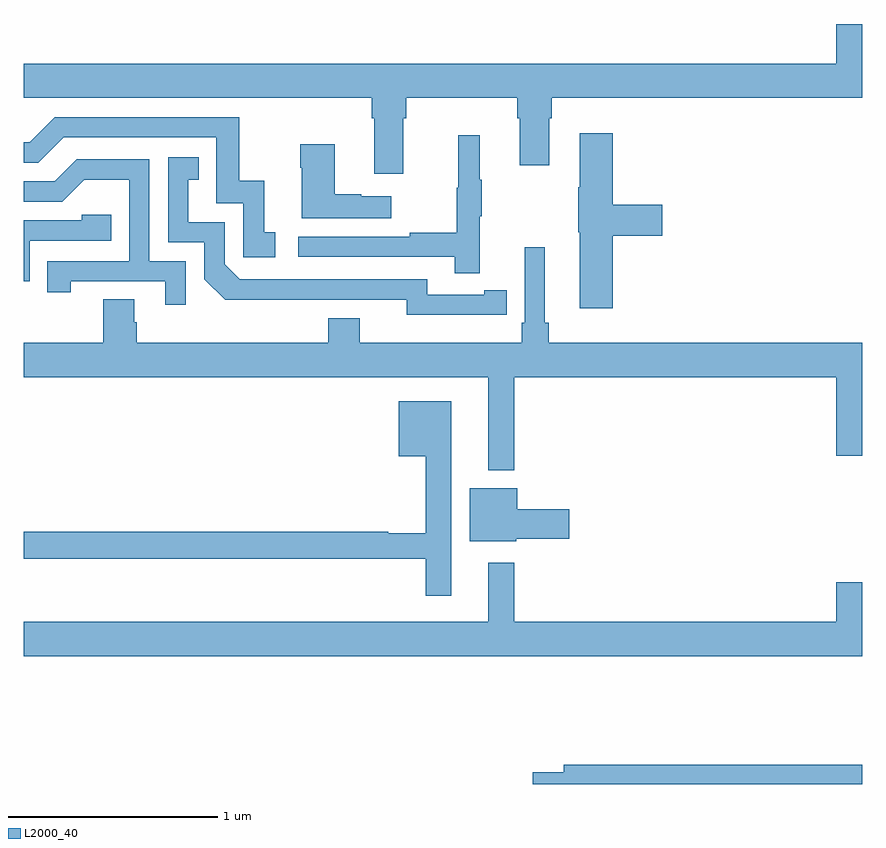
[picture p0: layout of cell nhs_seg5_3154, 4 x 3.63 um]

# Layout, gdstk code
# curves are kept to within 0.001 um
import gdstk
lib = gdstk.Library(unit=1e-6, precision=1e-09)
def P(c, l, *ps):  # polygons
    for p in ps: c.add(gdstk.Polygon(p, *l))
L2000_40 = (2000, 40)

nhs_seg5_3154 = lib.new_cell('nhs_seg5_3154')
P(nhs_seg5_3154, L2000_40, [(294.811,877.976),(294.824,877.976),(294.824,878.072),(295.355,878.072),(295.355,877.976),(295.367,877.976),(295.367,877.752),(295.507,877.752),(295.507,877.976),(295.52,877.976),(295.52,878.072),(297,878.072),(297,878.425),(296.876,878.425),(296.876,878.236),(293,878.236),(293,878.072),(294.659,878.072),(294.659,877.976),(294.671,877.976),(294.671,877.71),(294.811,877.71)],
  [(294.199,877.431),(294.146,877.431),(294.146,877.678),(294.028,877.678),(294.028,877.98),(293.148,877.98),(293.028,877.86),(293,877.86),(293,877.764),(293.07,877.764),(293.19,877.884),(293.919,877.884),(293.919,877.569),(294.048,877.569),(294.048,877.311),(294.199,877.311)],
  [(295.811,877.415),(296.047,877.415),(296.047,877.562),(295.811,877.562),(295.811,877.903),(295.652,877.903),(295.652,877.645),(295.645,877.645),(295.645,877.431),(295.652,877.431),(295.652,877.068),(295.811,877.068)],
  [(295.175,877.507),(295.186,877.507),(295.186,877.681),(295.175,877.681),(295.175,877.894),(295.072,877.894),(295.072,877.644),(295.065,877.644),(295.065,877.43),(294.841,877.43),(294.841,877.41),(294.309,877.41),(294.309,877.314),(295.057,877.314),(295.057,877.236),(295.175,877.236)],
  [(294.754,877.603),(294.611,877.603),(294.611,877.613),(294.484,877.613),(294.484,877.852),(294.319,877.852),(294.319,877.739),(294.326,877.739),(294.326,877.499),(294.754,877.499)],
  [(295.196,877.038),(295.304,877.038),(295.304,877.154),(295.196,877.154),(295.196,877.134),(294.924,877.134),(294.924,877.206),(294.03,877.206),(293.958,877.278),(293.958,877.479),(293.785,877.479),(293.785,877.683),(293.834,877.683),(293.834,877.789),(293.688,877.789),(293.688,877.383),(293.862,877.383),(293.862,877.206),(293.96,877.109),(294.828,877.11),(294.828,877.037)],
  [(293.772,877.293),(293.598,877.293),(293.598,877.779),(293.252,877.779),(293.147,877.674),(293,877.674),(293,877.578),(293.184,877.578),(293.288,877.682),(293.502,877.682),(293.502,877.293),(293.113,877.293),(293.113,877.146),(293.224,877.146),(293.224,877.197),(293.675,877.197),(293.675,877.086),(293.772,877.086)],
  [(293.028,877.392),(293.417,877.392),(293.417,877.515),(293.277,877.515),(293.277,877.488),(293,877.488),(293,877.197),(293.028,877.197)],
  [(295.486,877),(295.486,877.36),(295.389,877.36),(295.389,877),(295.376,877),(295.376,876.904),(294.604,876.904),(294.604,877.021),(294.452,877.021),(294.452,876.904),(293.54,876.904),(293.54,877.002),(293.527,877.002),(293.527,877.112),(293.38,877.112),(293.38,876.904),(293,876.904),(293,876.74),(295.217,876.74),(295.217,876.296),(295.339,876.296),(295.339,876.74),(296.876,876.74),(296.876,876.366),(297,876.366),(297,876.904),(295.505,876.904),(295.505,877)],
  [(295.039,876.625),(294.788,876.625),(294.788,876.362),(294.918,876.362),(294.918,875.995),(294.739,875.995),(294.739,876.002),(293,876.002),(293,875.874),(294.918,875.874),(294.918,875.697),(295.039,875.697)],
  [(295.35,875.968),(295.603,875.968),(295.603,876.11),(295.354,876.11),(295.354,876.211),(295.127,876.211),(295.127,875.957),(295.35,875.957)],
  [(297,875.761),(296.876,875.761),(296.876,875.572),(295.339,875.572),(295.339,875.854),(295.217,875.854),(295.217,875.572),(293,875.572),(293,875.408),(297,875.408)],
  [(297,874.892),(295.577,874.892),(295.577,874.856),(295.428,874.856),(295.428,874.799),(297,874.799)])

lib.write_gds('nhs_seg5_3154.gds')
